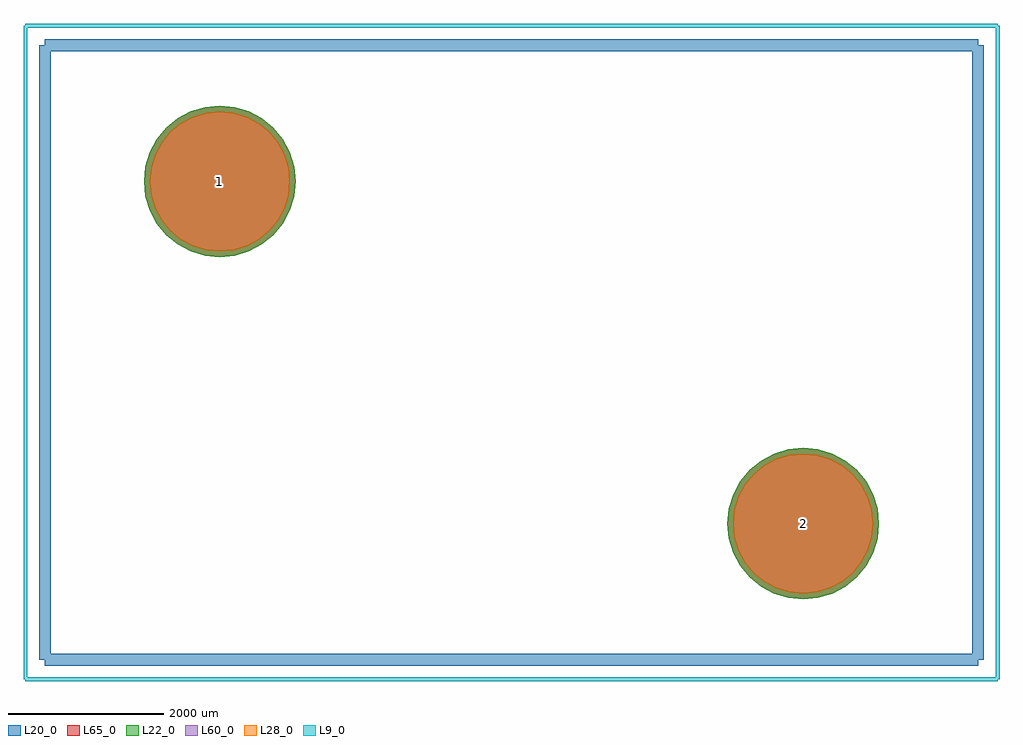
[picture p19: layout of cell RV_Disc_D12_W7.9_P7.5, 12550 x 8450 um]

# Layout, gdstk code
import gdstk
lib = gdstk.Library(unit=1e-6, precision=1e-09)
def P(c, l, *ps):  # polygons
    for p in ps: c.add(gdstk.Polygon(p, *l))
L9_0 = (9, 0)
L20_0 = (20, 0)
L22_0 = (22, 0)
L28_0 = (28, 0)
L60_0 = (60, 0)
L65_0 = (65, 0)

rv_disc_d12_w7_9_p7_5 = lib.new_cell('RV_Disc_D12_W7.9_P7.5')
P(rv_disc_d12_w7_9_p7_5, L22_0, [(8475,-4400),(8456.266,-4209.787),(8400.783,-4026.884),(8310.683,-3858.319),(8189.429,-3710.571),(8041.681,-3589.317),(7873.116,-3499.217),(7690.213,-3443.734),(7500,-3425),(7309.787,-3443.734),(7126.884,-3499.217),(6958.319,-3589.317),(6810.571,-3710.571),(6689.317,-3858.319),(6599.217,-4026.884),(6543.734,-4209.787),(6525,-4400),(6543.734,-4590.213),(6599.217,-4773.116),(6689.317,-4941.681),(6810.571,-5089.429),(6958.319,-5210.683),(7126.884,-5300.783),(7309.787,-5356.266),(7500,-5375),(7690.213,-5356.266),(7873.116,-5300.783),(8041.681,-5210.683),(8189.429,-5089.429),(8310.683,-4941.681),(8400.783,-4773.116),(8456.266,-4590.213)],
  [(975,0),(956.266,190.213),(900.783,373.116),(810.683,541.681),(689.429,689.429),(541.681,810.683),(373.116,900.783),(190.213,956.266),(0,975),(-190.213,956.266),(-373.116,900.783),(-541.681,810.683),(-689.429,689.429),(-810.683,541.681),(-900.783,373.116),(-956.266,190.213),(-975,0),(-956.266,-190.213),(-900.783,-373.116),(-810.683,-541.681),(-689.429,-689.429),(-541.681,-810.683),(-373.116,-900.783),(-190.213,-956.266),(0,-975),(190.213,-956.266),(373.116,-900.783),(541.681,-810.683),(689.429,-689.429),(810.683,-541.681),(900.783,-373.116),(956.266,-190.213)])
P(rv_disc_d12_w7_9_p7_5, L28_0, [(8400,-4400),(8382.707,-4224.419),(8331.492,-4055.585),(8248.323,-3899.987),(8136.396,-3763.604),(8000.013,-3651.677),(7844.415,-3568.508),(7675.581,-3517.293),(7500,-3500),(7324.419,-3517.293),(7155.585,-3568.508),(6999.987,-3651.677),(6863.604,-3763.604),(6751.677,-3899.987),(6668.508,-4055.585),(6617.293,-4224.419),(6600,-4400),(6617.293,-4575.581),(6668.508,-4744.415),(6751.677,-4900.013),(6863.604,-5036.396),(6999.987,-5148.323),(7155.585,-5231.492),(7324.419,-5282.707),(7500,-5300),(7675.581,-5282.707),(7844.415,-5231.492),(8000.013,-5148.323),(8136.396,-5036.396),(8248.323,-4900.013),(8331.492,-4744.415),(8382.707,-4575.581)],
  [(900,0),(882.707,175.581),(831.492,344.415),(748.323,500.013),(636.396,636.396),(500.013,748.323),(344.415,831.492),(175.581,882.707),(0,900),(-175.581,882.707),(-344.415,831.492),(-500.013,748.323),(-636.396,636.396),(-748.323,500.013),(-831.492,344.415),(-882.707,175.581),(-900,0),(-882.707,-175.581),(-831.492,-344.415),(-748.323,-500.013),(-636.396,-636.396),(-500.013,-748.323),(-344.415,-831.492),(-175.581,-882.707),(0,-900),(175.581,-882.707),(344.415,-831.492),(500.013,-748.323),(636.396,-636.396),(748.323,-500.013),(831.492,-344.415),(882.707,-175.581)])
P(rv_disc_d12_w7_9_p7_5, L60_0, [(8400,-4400),(8382.707,-4224.419),(8331.492,-4055.585),(8248.323,-3899.987),(8136.396,-3763.604),(8000.013,-3651.677),(7844.415,-3568.508),(7675.581,-3517.293),(7500,-3500),(7324.419,-3517.293),(7155.585,-3568.508),(6999.987,-3651.677),(6863.604,-3763.604),(6751.677,-3899.987),(6668.508,-4055.585),(6617.293,-4224.419),(6600,-4400),(6617.293,-4575.581),(6668.508,-4744.415),(6751.677,-4900.013),(6863.604,-5036.396),(6999.987,-5148.323),(7155.585,-5231.492),(7324.419,-5282.707),(7500,-5300),(7675.581,-5282.707),(7844.415,-5231.492),(8000.013,-5148.323),(8136.396,-5036.396),(8248.323,-4900.013),(8331.492,-4744.415),(8382.707,-4575.581)],
  [(900,0),(882.707,175.581),(831.492,344.415),(748.323,500.013),(636.396,636.396),(500.013,748.323),(344.415,831.492),(175.581,882.707),(0,900),(-175.581,882.707),(-344.415,831.492),(-500.013,748.323),(-636.396,636.396),(-748.323,500.013),(-831.492,344.415),(-882.707,175.581),(-900,0),(-882.707,-175.581),(-831.492,-344.415),(-748.323,-500.013),(-636.396,-636.396),(-500.013,-748.323),(-344.415,-831.492),(-175.581,-882.707),(0,-900),(175.581,-882.707),(344.415,-831.492),(500.013,-748.323),(636.396,-636.396),(748.323,-500.013),(831.492,-344.415),(882.707,-175.581)])
P(rv_disc_d12_w7_9_p7_5, L65_0, [(8475,-4400),(8456.266,-4209.787),(8400.783,-4026.884),(8310.683,-3858.319),(8189.429,-3710.571),(8041.681,-3589.317),(7873.116,-3499.217),(7690.213,-3443.734),(7500,-3425),(7309.787,-3443.734),(7126.884,-3499.217),(6958.319,-3589.317),(6810.571,-3710.571),(6689.317,-3858.319),(6599.217,-4026.884),(6543.734,-4209.787),(6525,-4400),(6543.734,-4590.213),(6599.217,-4773.116),(6689.317,-4941.681),(6810.571,-5089.429),(6958.319,-5210.683),(7126.884,-5300.783),(7309.787,-5356.266),(7500,-5375),(7690.213,-5356.266),(7873.116,-5300.783),(8041.681,-5210.683),(8189.429,-5089.429),(8310.683,-4941.681),(8400.783,-4773.116),(8456.266,-4590.213)],
  [(975,0),(956.266,190.213),(900.783,373.116),(810.683,541.681),(689.429,689.429),(541.681,810.683),(373.116,900.783),(190.213,956.266),(0,975),(-190.213,956.266),(-373.116,900.783),(-541.681,810.683),(-689.429,689.429),(-810.683,541.681),(-900.783,373.116),(-956.266,190.213),(-975,0),(-956.266,-190.213),(-900.783,-373.116),(-810.683,-541.681),(-689.429,-689.429),(-541.681,-810.683),(-373.116,-900.783),(-190.213,-956.266),(0,-975),(190.213,-956.266),(373.116,-900.783),(541.681,-810.683),(689.429,-689.429),(810.683,-541.681),(900.783,-373.116),(956.266,-190.213)])
rv_disc_d12_w7_9_p7_5.add(gdstk.FlexPath([(-2250,1750),(-2250,-6150)], 149.998, ends="flush", simple_path=True, layer=20, datatype=0))  # L20_0
rv_disc_d12_w7_9_p7_5.add(gdstk.FlexPath([(9750,1750),(9750,-6150)], 149.998, ends="flush", simple_path=True, layer=20, datatype=0))  # L20_0
rv_disc_d12_w7_9_p7_5.add(gdstk.FlexPath([(-2250,1750),(9750,1750)], 149.998, ends="flush", simple_path=True, layer=20, datatype=0))  # L20_0
rv_disc_d12_w7_9_p7_5.add(gdstk.FlexPath([(-2250,-6150),(9750,-6150)], 149.998, ends="flush", simple_path=True, layer=20, datatype=0))  # L20_0
rv_disc_d12_w7_9_p7_5.add(gdstk.FlexPath([(-2500,2000),(-2500,-6400)], 50, ends="flush", simple_path=True, layer=9, datatype=0))  # L9_0
rv_disc_d12_w7_9_p7_5.add(gdstk.FlexPath([(10000,2000),(10000,-6400)], 50, ends="flush", simple_path=True, layer=9, datatype=0))  # L9_0
rv_disc_d12_w7_9_p7_5.add(gdstk.FlexPath([(-2500,2000),(10000,2000)], 50, ends="flush", simple_path=True, layer=9, datatype=0))  # L9_0
rv_disc_d12_w7_9_p7_5.add(gdstk.FlexPath([(-2500,-6400),(10000,-6400)], 50, ends="flush", simple_path=True, layer=9, datatype=0))  # L9_0
rv_disc_d12_w7_9_p7_5.add(gdstk.Label('2', (7500,-4400), layer=28, texttype=0))
rv_disc_d12_w7_9_p7_5.add(gdstk.Label('1', (0,0), layer=28, texttype=0))
rv_disc_d12_w7_9_p7_5.add(gdstk.Label('type', (3750,2750), layer=9, texttype=0))
rv_disc_d12_w7_9_p7_5.add(gdstk.Label('devicename', (3750,-7150), layer=9, texttype=0))

lib.write_gds('RV_Disc_D12_W7.9_P7.5.gds')
